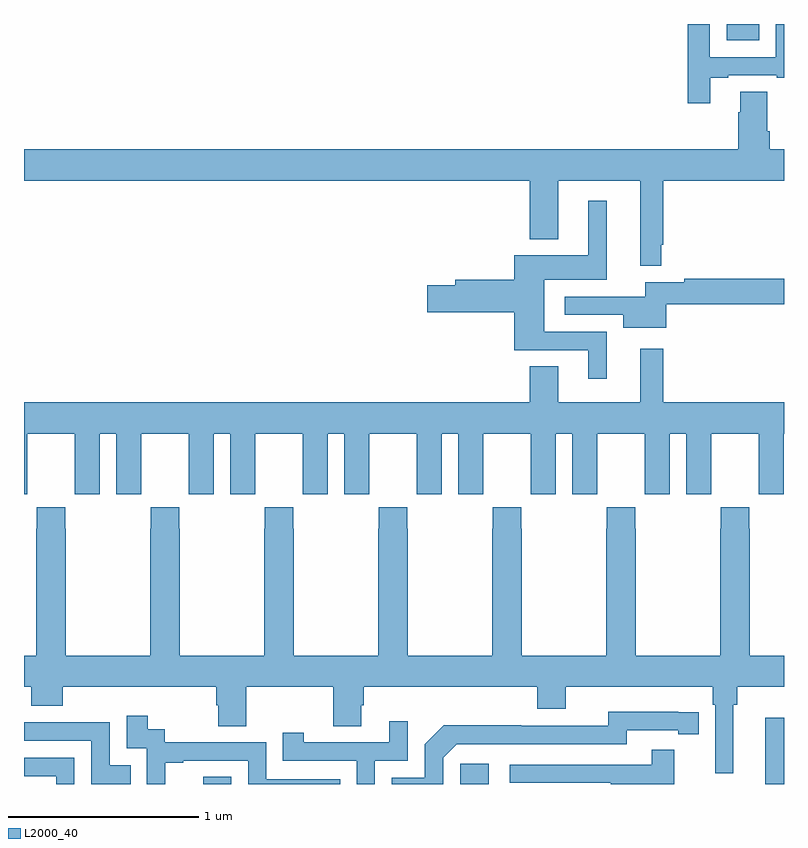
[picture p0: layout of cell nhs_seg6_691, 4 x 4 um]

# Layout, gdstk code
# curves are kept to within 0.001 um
import gdstk
lib = gdstk.Library(unit=1e-6, precision=1e-09)
def R(c, l, rs):  # rectangles x0, y0, x1, y1
    for r in rs: c.add(gdstk.rectangle(r[:2], r[2:], *l))
def P(c, l, *ps):  # polygons
    for p in ps: c.add(gdstk.Polygon(p, *l))
L2000_40 = (2000, 40)

nhs_seg6_691 = lib.new_cell('nhs_seg6_691')
R(nhs_seg6_691, L2000_40, [(155.943,937.5,156.09,937.537), (157.296,937.5,157.447,937.606), (158.9,937.5,159,937.849), (158.699,941.414,158.869,941.5)])
P(nhs_seg6_691, L2000_40, [(158.611,941.217),(158.707,941.217),(158.707,941.229),(158.963,941.229),(158.963,941.217),(159,941.217),(159,941.5),(158.957,941.5),(158.957,941.325),(158.61,941.325),(158.61,941.5),(158.494,941.5),(158.494,941.082),(158.611,941.082)],
  [(158.354,940.339),(158.365,940.339),(158.365,940.676),(159,940.676),(159,940.84),(158.924,940.84),(158.924,940.936),(158.911,940.936),(158.911,941.144),(158.771,941.144),(158.771,941.036),(158.759,941.036),(158.759,940.84),(155,940.84),(155,940.676),(157.661,940.676),(157.661,940.367),(157.813,940.367),(157.813,940.676),(158.243,940.676),(158.243,940.227),(158.354,940.227)],
  [(158.068,939.879),(157.738,939.879),(157.738,940.154),(158.068,940.154),(158.068,940.57),(157.97,940.57),(157.97,940.282),(157.58,940.282),(157.58,940.154),(157.271,940.154),(157.271,940.124),(157.122,940.124),(157.122,939.982),(157.58,939.982),(157.58,939.783),(157.97,939.783),(157.97,939.633),(158.068,939.633)],
  [(158.38,940.024),(159,940.024),(159,940.16),(158.476,940.16),(158.476,940.14),(158.27,940.14),(158.27,940.065),(157.845,940.065),(157.845,939.969),(158.153,939.969),(158.153,939.902),(158.38,939.902)],
  [(155.016,939.136),(155.017,939.136),(155.017,939.344),(155.267,939.344),(155.267,939.136),(155.268,939.136),(155.268,939.024),(155.398,939.024),(155.398,939.344),(155.486,939.344),(155.486,939.024),(155.616,939.024),(155.616,939.136),(155.617,939.136),(155.617,939.344),(155.867,939.344),(155.867,939.136),(155.868,939.136),(155.868,939.024),(155.998,939.024),(155.998,939.344),(156.086,939.344),(156.086,939.024),(156.216,939.024),(156.216,939.136),(156.217,939.136),(156.217,939.344),(156.467,939.344),(156.467,939.136),(156.468,939.136),(156.468,939.024),(156.598,939.024),(156.598,939.344),(156.686,939.344),(156.686,939.024),(156.816,939.024),(156.816,939.136),(156.817,939.136),(156.817,939.344),(157.067,939.344),(157.067,939.136),(157.068,939.136),(157.068,939.024),(157.198,939.024),(157.198,939.344),(157.286,939.344),(157.286,939.024),(157.416,939.024),(157.416,939.136),(157.417,939.136),(157.417,939.344),(157.667,939.344),(157.667,939.136),(157.668,939.136),(157.668,939.024),(157.798,939.024),(157.798,939.344),(157.886,939.344),(157.886,939.024),(158.016,939.024),(158.016,939.136),(158.017,939.136),(158.017,939.344),(158.267,939.344),(158.267,939.136),(158.268,939.136),(158.268,939.024),(158.398,939.024),(158.398,939.344),(158.486,939.344),(158.486,939.024),(158.616,939.024),(158.616,939.136),(158.617,939.136),(158.617,939.344),(158.867,939.344),(158.867,939.136),(158.868,939.136),(158.868,939.024),(158.998,939.024),(158.998,939.344),(159,939.344),(159,939.508),(158.365,939.508),(158.365,939.79),(158.243,939.79),(158.243,939.508),(157.813,939.508),(157.813,939.698),(157.661,939.698),(157.661,939.508),(155,939.508),(155,939.024),(155.016,939.024)],
  [(157.617,938.843),(157.617,938.956),(157.467,938.956),(157.467,938.843),(157.465,938.843),(157.465,938.176),(157.02,938.176),(157.02,938.843),(157.017,938.843),(157.017,938.956),(156.867,938.956),(156.867,938.843),(156.865,938.843),(156.865,938.176),(156.42,938.176),(156.42,938.843),(156.417,938.843),(156.417,938.956),(156.267,938.956),(156.267,938.843),(156.265,938.843),(156.265,938.176),(155.82,938.176),(155.82,938.843),(155.817,938.843),(155.817,938.956),(155.667,938.956),(155.667,938.843),(155.665,938.843),(155.665,938.176),(155.22,938.176),(155.22,938.843),(155.217,938.843),(155.217,938.956),(155.067,938.956),(155.067,938.843),(155.065,938.843),(155.065,938.176),(155,938.176),(155,938.012),(155.039,938.012),(155.039,937.913),(155.204,937.913),(155.204,938.012),(156.011,938.012),(156.011,937.914),(156.023,937.914),(156.023,937.804),(156.171,937.804),(156.171,938.012),(156.628,938.012),(156.628,937.804),(156.775,937.804),(156.775,937.914),(156.788,937.914),(156.788,938.012),(157.7,938.012),(157.7,937.895),(157.852,937.895),(157.852,938.012),(158.624,938.012),(158.624,937.916),(158.637,937.916),(158.637,937.557),(158.734,937.557),(158.734,937.916),(158.753,937.916),(158.753,938.012),(159,938.012),(159,938.176),(158.82,938.176),(158.82,938.843),(158.817,938.843),(158.817,938.956),(158.667,938.956),(158.667,938.843),(158.665,938.843),(158.665,938.176),(158.22,938.176),(158.22,938.843),(158.217,938.843),(158.217,938.956),(158.067,938.956),(158.067,938.843),(158.065,938.843),(158.065,938.176),(157.62,938.176),(157.62,938.843)],
  [(157.206,937.638),(157.278,937.71),(158.172,937.71),(158.172,937.782),(158.444,937.782),(158.444,937.762),(158.552,937.762),(158.552,937.878),(158.076,937.879),(158.076,937.806),(157.616,937.806),(157.616,937.808),(157.208,937.808),(157.11,937.71),(157.11,937.533),(156.936,937.533),(156.936,937.5),(157.206,937.5)],
  [(155.744,937.611),(155.839,937.611),(155.839,937.623),(156.18,937.623),(156.18,937.5),(156.665,937.5),(156.665,937.524),(156.276,937.524),(156.276,937.719),(155.742,937.719),(155.742,937.788),(155.65,937.788),(155.65,937.858),(155.541,937.858),(155.541,937.689),(155.646,937.689),(155.646,937.5),(155.744,937.5)],
  [(156.846,937.623),(157.02,937.623),(157.02,937.831),(156.923,937.831),(156.923,937.719),(156.472,937.719),(156.472,937.771),(156.361,937.771),(156.361,937.623),(156.75,937.623),(156.75,937.5),(156.846,937.5)],
  [(155.561,937.599),(155.451,937.599),(155.451,937.824),(155,937.824),(155,937.728),(155.355,937.728),(155.355,937.5),(155.561,937.5)],
  [(158.423,937.681),(158.305,937.681),(158.305,937.602),(157.557,937.602),(157.557,937.506),(158.089,937.506),(158.089,937.5),(158.423,937.5)],
  [(155.265,937.638),(155,937.638),(155,937.542),(155.169,937.542),(155.169,937.5),(155.265,937.5)])

lib.write_gds('nhs_seg6_691.gds')
